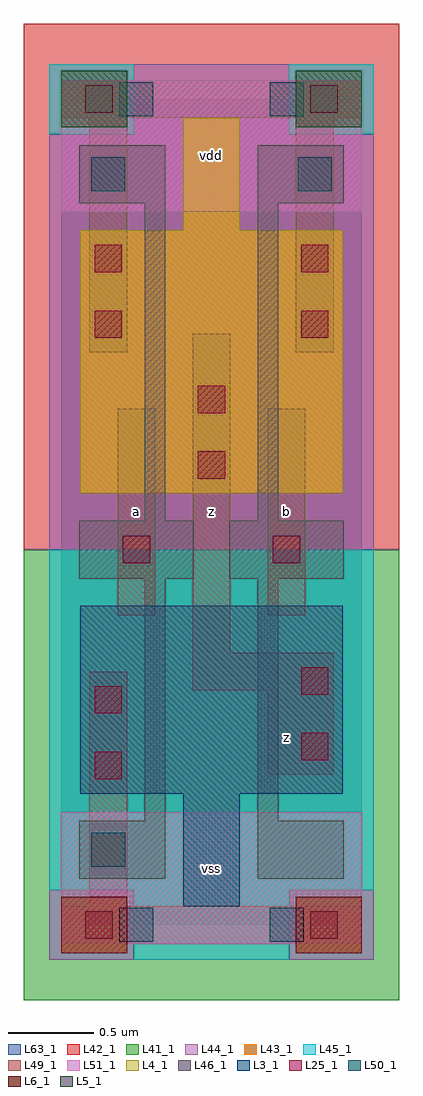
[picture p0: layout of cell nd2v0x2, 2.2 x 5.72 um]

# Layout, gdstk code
import gdstk
lib = gdstk.Library(unit=1e-6, precision=1e-09)
def R(c, l, rs):  # rectangles x0, y0, x1, y1
    for r in rs: c.add(gdstk.rectangle(r[:2], r[2:], *l))
L3_1 = (3, 1)
L4_1 = (4, 1)
L5_1 = (5, 1)
L6_1 = (6, 1)
L25_1 = (25, 1)
L41_1 = (41, 1)
L42_1 = (42, 1)
L43_1 = (43, 1)
L44_1 = (44, 1)
L45_1 = (45, 1)
L46_1 = (46, 1)
L49_1 = (49, 1)
L50_1 = (50, 1)
L51_1 = (51, 1)
L63_1 = (63, 1)

nd2v0x2 = lib.new_cell('nd2v0x2')
R(nd2v0x2, L3_1, [(0.715,0.11,1.045,0.77), (0.11,0.77,1.65,1.87)])
R(nd2v0x2, L4_1, [(0.11,2.53,1.65,4.07), (0.715,4.07,1.045,4.73)])
R(nd2v0x2, L5_1, [(0,4.675,0.385,5.005), (1.375,4.675,1.76,5.005)])
R(nd2v0x2, L6_1, [(0,-0.165,0.385,0.165), (1.375,-0.165,1.76,0.165)])
R(nd2v0x2, L25_1, [(0.14,-0.08,0.3,0.08), (1.46,-0.08,1.62,0.08), (0.195,0.855,0.355,1.015), (1.405,0.965,1.565,1.125), (0.195,1.24,0.355,1.4), (1.405,1.35,1.565,1.51), (0.36,2.12,0.52,2.28), (1.24,2.12,1.4,2.28), (0.8,2.615,0.96,2.775), (0.8,3,0.96,3.16), (0.195,3.44,0.355,3.6), (1.405,3.44,1.565,3.6), (0.195,3.825,0.355,3.985), (1.405,3.825,1.565,3.985), (0.14,4.76,0.3,4.92), (1.46,4.76,1.62,4.92)])
R(nd2v0x2, L41_1, [(-0.22,-0.44,1.98,2.2)])
R(nd2v0x2, L42_1, [(-0.22,2.2,1.98,5.28)])
R(nd2v0x2, L43_1, [(0,-0.165,0.385,0.165), (1.375,-0.165,1.76,0.165), (0.715,0.11,1.045,0.77), (0.11,0.77,1.65,1.87), (0.11,2.53,1.65,4.07), (0.715,4.07,1.045,4.73), (0,4.675,0.385,5.005), (1.375,4.675,1.76,5.005)])
R(nd2v0x2, L44_1, [(-0.07,-0.205,0.425,0.205), (1.335,-0.205,1.83,0.205), (-0.07,2.2,1.83,4.635), (0.425,4.635,1.335,5.045)])
R(nd2v0x2, L45_1, [(0.425,-0.205,1.335,0.205), (-0.07,0.205,1.83,2.2), (-0.07,4.635,0.425,5.045), (1.335,4.635,1.83,5.045)])
R(nd2v0x2, L46_1, [(0.105,0.27,0.61,0.61), (1.15,0.27,1.655,0.61), (0.49,0.61,0.61,2.03), (1.15,0.61,1.27,2.03), (0.105,2.03,0.775,2.37), (0.985,2.03,1.655,2.37), (0.49,2.37,0.61,4.23), (1.15,2.37,1.27,4.23), (0.105,4.23,0.61,4.57), (1.15,4.23,1.655,4.57)])
R(nd2v0x2, L49_1, [(0,-0.11,1.76,0.11), (0.165,0.11,0.385,1.485), (1.21,0.88,1.595,1.375), (0.77,1.375,1.595,1.595), (0.77,1.595,0.99,3.465), (0.33,1.815,0.55,3.025), (1.21,1.815,1.43,3.025), (0.165,3.355,0.385,4.73), (1.375,3.355,1.595,4.73), (0,4.73,1.76,4.95)])
R(nd2v0x2, L50_1, [(0.34,-0.1,0.54,0.1), (1.22,-0.1,1.42,0.1), (0.175,0.34,0.375,0.54), (0.175,4.3,0.375,4.5), (1.385,4.3,1.585,4.5), (0.34,4.74,0.54,4.94), (1.22,4.74,1.42,4.94)])
R(nd2v0x2, L51_1, [(0,-0.11,1.76,0.66), (0,4.18,1.76,4.95)])
R(nd2v0x2, L63_1, [(0,0,1.76,4.84)])
nd2v0x2.add(gdstk.Label('a', (0.44,2.42), layer=49, texttype=1))
nd2v0x2.add(gdstk.Label('z', (0.88,2.42), layer=49, texttype=1))
nd2v0x2.add(gdstk.Label('z', (1.32,1.1), layer=49, texttype=1))
nd2v0x2.add(gdstk.Label('b', (1.32,2.42), layer=49, texttype=1))
nd2v0x2.add(gdstk.Label('vss', (0.88,0.33), layer=51, texttype=1))
nd2v0x2.add(gdstk.Label('vdd', (0.88,4.51), layer=51, texttype=1))

lib.write_gds('nd2v0x2.gds')
